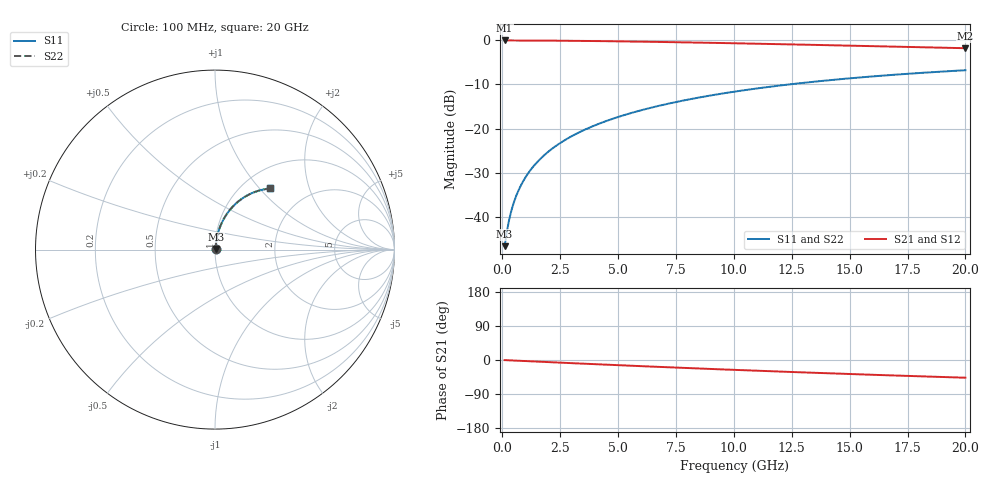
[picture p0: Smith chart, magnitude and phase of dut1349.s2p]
! Touchstone file exported from HFSS 2024.1.0
!  File:  C:/UserFiles/LocalFiles/RDL_TSV_Batchsim/temp_RDL_top_1349_1780366134.aedt
!  Generated:  10:10:56 AM Jun  2, 2026
!  Design:  RDL_top
!  Project:  temp_RDL_top_1349_1780366134
!  Setup:  Setup1
!  Solution:  Sweep
! Variables:
!  dtsv = 10.80580581um
!  hbump = 3um
!  htsv = 86.1um
!  ldown = 100um
!  lrdl = 667.79um
!  p = 40
!  p1 = 44.9um
!  rhole = 1um
!  t = 450um
!  tdown = 3.915915916um
!  trdl = 4.7um
!  wdown = 15.38538539um
!  wrdl = 14.07um
# GHz S MA R 50.000000
! Terminal data exported
! Port[1] = Box2_T1
! Port[2] = Box2_T2
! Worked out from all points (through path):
!   200 points, 100 MHz to 20 GHz, reference 50 ohm
!   highest |S21| = -0.03 dB at 100 MHz (marker M1); lowest = -1.8 dB at 20 GHz (marker M2)
!   group delay of S21, straight-line fit = 6.48 ps
!   lowest |S11| = -46.6 dB at 100 MHz (marker M3), VSWR 1.01, Z = 50.4 + j0.291 ohm
!   |S11| at or under -10 dB: start of sweep to 12.38 GHz
!   |S22| runs from -46.6 to -6.8 dB; largest |S21 - S12| = 1.3e-14
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0.1  0.004652 38.3  0.9964 -0.3  0.9964 -0.3  0.004652 38.3
! Gamma 0 0 0 0
! Port Impedance 50 0 50 0
0.2  0.006857 56.6  0.9962 -0.6  0.9962 -0.6  0.006857 56.6
0.3  0.00937 65.2  0.9961 -0.9  0.9961 -0.9  0.00937 65.2
0.4  0.01197 69.9  0.9959 -1.1  0.9959 -1.1  0.01197 70.0
0.5  0.0146 73.0  0.9958 -1.4  0.9958 -1.4  0.0146 73.0
0.6  0.01725 75.1  0.9956 -1.7  0.9956 -1.7  0.01725 75.1
0.8  0.0226 77.7  0.9952 -2.3  0.9952 -2.3  0.0226 77.7
1.1  0.03068 79.7  0.9946 -3.1  0.9946 -3.1  0.03068 79.7
1.5  0.04151 80.8  0.9936 -4.2  0.9936 -4.2  0.04151 80.8
1.8  0.04964 81.0  0.9926 -5.0  0.9926 -5.0  0.04964 81.0
2.1  0.05777 81.0  0.9915 -5.9  0.9915 -5.9  0.05777 81.0
2.7  0.07398 80.6  0.9888 -7.5  0.9888 -7.5  0.07398 80.6
3.5  0.09547 79.6  0.9844 -9.7  0.9844 -9.7  0.09548 79.6
4.2  0.1141 78.5  0.9798 -11.6  0.9798 -11.6  0.1141 78.5
5  0.1353 77.1  0.974 -13.7  0.974 -13.7  0.1353 77.1
5.9  0.1588 75.4  0.9666 -16.0  0.9666 -16.0  0.1588 75.5
6.8  0.1821 73.7  0.9586 -18.3  0.9586 -18.3  0.1821 73.7
8.4  0.2225 70.6  0.9431 -22.2  0.9431 -22.2  0.2225 70.6
10.1  0.2639 67.1  0.9254 -26.2  0.9254 -26.2  0.2639 67.2
13.4  0.3382 60.5  0.8886 -33.6  0.8886 -33.6  0.3383 60.5
16.7  0.4031 54.0  0.8509 -40.4  0.8509 -40.4  0.4033 54.1
20  0.4583 48.0  0.814 -46.7  0.814 -46.7  0.4585 48.0
